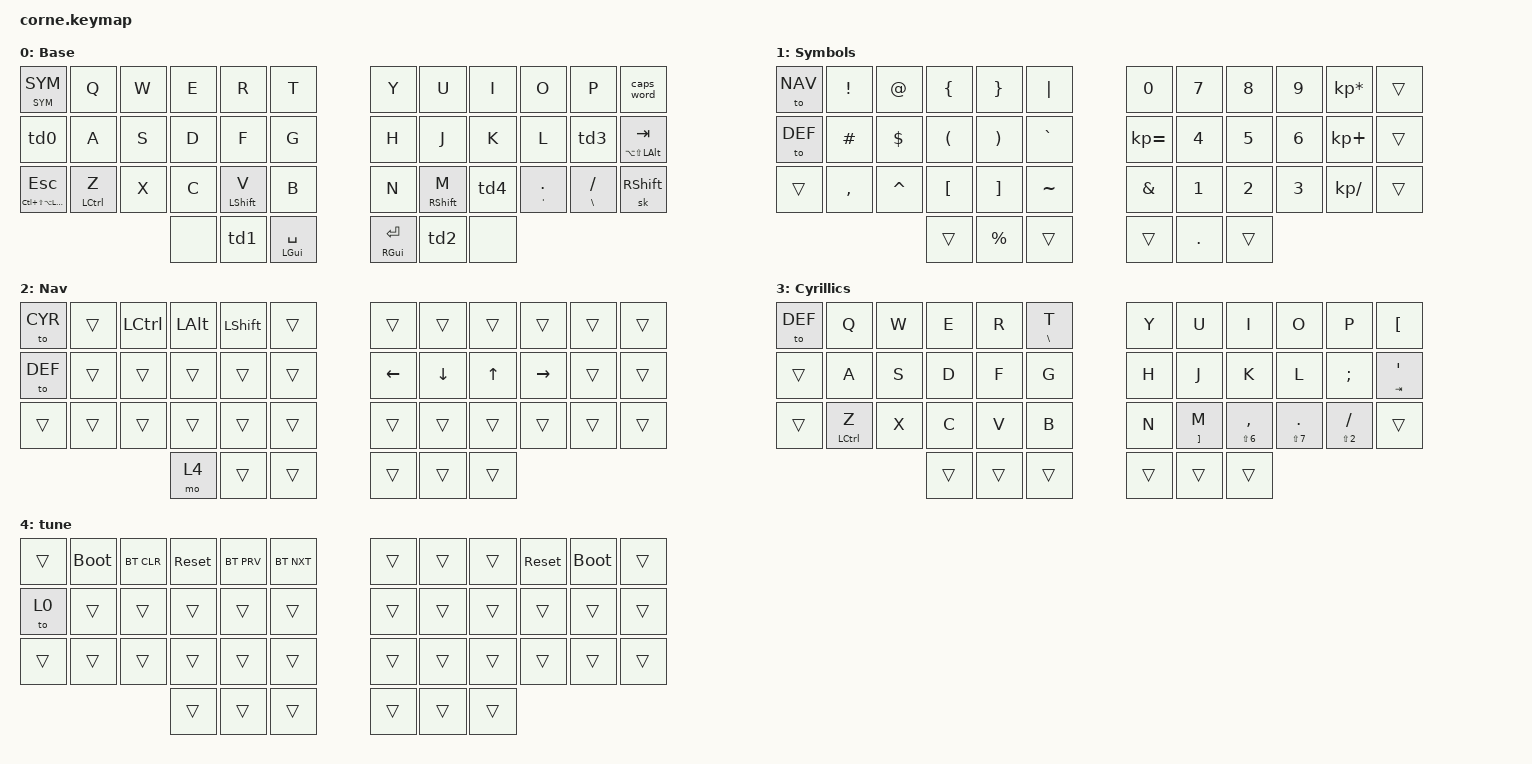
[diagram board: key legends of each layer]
/*
 * Copyright (c) 2020 The ZMK Contributors
 *
 * SPDX-License-Identifier: MIT
 */

#include <behaviors.dtsi>
#include <dt-bindings/zmk/bt.h>
#include <dt-bindings/zmk/keys.h>

#define DEF     0
#define SYM     1
#define NAV     2
#define CYR     3

&mt {
    flavor = "tap-preferred";
};

/ {
    behaviors {
        td0: tap_dance_0 {
            compatible = "zmk,behavior-tap-dance";
            #binding-cells = <0>;
            bindings = <&kp BSPC>, <&kp MINUS>;
        };

        td1: tap_dance_1 {
            compatible = "zmk,behavior-tap-dance";
            #binding-cells = <0>;
            bindings = <&mt LALT EQUAL>, <&kp GRAVE>;
        };

        td2: tap_dance_2 {
            compatible = "zmk,behavior-tap-dance";
            #binding-cells = <0>;
            bindings = <&kp LPAR>, <&kp RPAR>;
        };

        td3: tap_dance_3 {
            compatible = "zmk,behavior-tap-dance";
            #binding-cells = <0>;
            bindings = <&mt HASH SEMI>, <&mt AT_SIGN TILDE>;
        };

        td4: tap_dance_4 {
            compatible = "zmk,behavior-tap-dance";
            #binding-cells = <0>;
            bindings = <&mt LBKT COMMA>, <&kp RBKT>;
        };

        // tap toggle
        // from https://zmk.dev/docs/behaviors/hold-tap#example-use-cases:~:text=Toggle%2Don%2DTap%2C%20Momentary%2Don%2DHold%20Layers

        mo_tog: mo_tog {
            compatible = "zmk,behavior-hold-tap";
            #binding-cells = <2>;
            flavor = "hold-preferred";
            tapping-term-ms = <200>;
            bindings = <&mo>, <&tog>;
        };
    };

    keymap {
        compatible = "zmk,keymap";

        default_layer {
            // -----------------------------------------------------------------------------------------
            // |  TT  |  Q  |  W  |  E  |  R  |  T  |   |  Y  |  U   |  I  |  O  |  P  | WORD |
            // |BKSP/-|  A  |  S  |  D  |  F  |  G  |   |  H  |  J   |  K  |  L  | ; # |  TAB |
            // |ESC/HY|Z/CTR|  X  |  C  |  V  |  B  |   |  N  |  M   | ,/[ | ./' | / \ | SFT  |
            //                    |     |=/OPT|SPC/GUI| |ENT/GUI| (/)|     |

            display-name = "Base";
            bindings = <
&mo_tog SYM SYM           &kp Q        &kp W  &kp E  &kp R        &kp T             &kp Y         &kp U        &kp I  &kp O        &kp P          &caps_word
&td0                      &kp A        &kp S  &kp D  &kp F        &kp G             &kp H         &kp J        &kp K  &kp L        &td3           &mt LA(LS(LALT)) TAB
&mt LC(LS(LA(LGUI))) ESC  &mt LCTRL Z  &kp X  &kp C  &mt LSHFT V  &kp B             &kp N         &mt RSHFT M  &td4   &mt SQT DOT  &mt BSLH FSLH  &sk RSHFT
                                              &none  &td1         &mt LGUI SPACE    &mt RGUI RET  &td2         &none
            >;
        };

        symbols_layer {
            display-name = "Symbols";
            bindings = <
&to NAV  &kp EXCL   &kp AT_SIGN  &kp LBRC  &kp RBRC     &kp PIPE     &kp N0         &kp N7   &kp N8  &kp N9  &kp KP_ASTERISK  &trans
&to DEF  &kp HASH   &kp DOLLAR   &kp LPAR  &kp RPAR     &kp GRAVE    &kp KP_EQUAL   &kp N4   &kp N5  &kp N6  &kp KP_PLUS      &trans
&trans   &kp COMMA  &kp CARET    &kp LBKT  &kp RBKT     &kp TILDE    &kp AMPERSAND  &kp N1   &kp N2  &kp N3  &kp KP_DIVIDE    &trans
                                 &trans    &kp PERCENT  &trans       &trans         &kp DOT  &trans
            >;
        };

        nav_layer {
            display-name = "Nav";
            bindings = <
&to CYR  &trans  &kp LCTRL  &kp LEFT_ALT  &kp LEFT_SHIFT  &trans    &trans    &trans    &trans  &trans     &trans  &trans
&to DEF  &trans  &trans     &trans        &trans          &trans    &kp LEFT  &kp DOWN  &kp UP  &kp RIGHT  &trans  &trans
&trans   &trans  &trans     &trans        &trans          &trans    &trans    &trans    &trans  &trans     &trans  &trans
                            &mo 4         &trans          &trans    &trans    &trans    &trans
            >;
        };

        cyrillics_layer {
            display-name = "Cyrillics";
            bindings = <
&to DEF  &kp Q        &kp W  &kp E   &kp R   &mt BSLH T    &kp Y   &kp U       &kp I             &kp O           &kp P            &kp LBKT
&trans   &kp A        &kp S  &kp D   &kp F   &kp G         &kp H   &kp J       &kp K             &kp L           &kp SEMI         &mt TAB SQT
&trans   &mt LCTRL Z  &kp X  &kp C   &kp V   &kp B         &kp N   &mt RBKT M  &mt LS(N6) COMMA  &mt LS(N7) DOT  &mt LS(N2) FSLH  &trans
                             &trans  &trans  &trans        &trans  &trans      &trans
            >;
        };

        tune_layer {
            bindings = <
&trans  &bootloader  &bt BT_CLR  &sys_reset  &bt BT_PRV  &bt BT_NXT    &trans  &trans  &trans  &sys_reset  &bootloader  &trans
&to 0   &trans       &trans      &trans      &trans      &trans        &trans  &trans  &trans  &trans      &trans       &trans
&trans  &trans       &trans      &trans      &trans      &trans        &trans  &trans  &trans  &trans      &trans       &trans
                                 &trans      &trans      &trans        &trans  &trans  &trans
            >;

            display-name = "tune";
        };
    };
};
